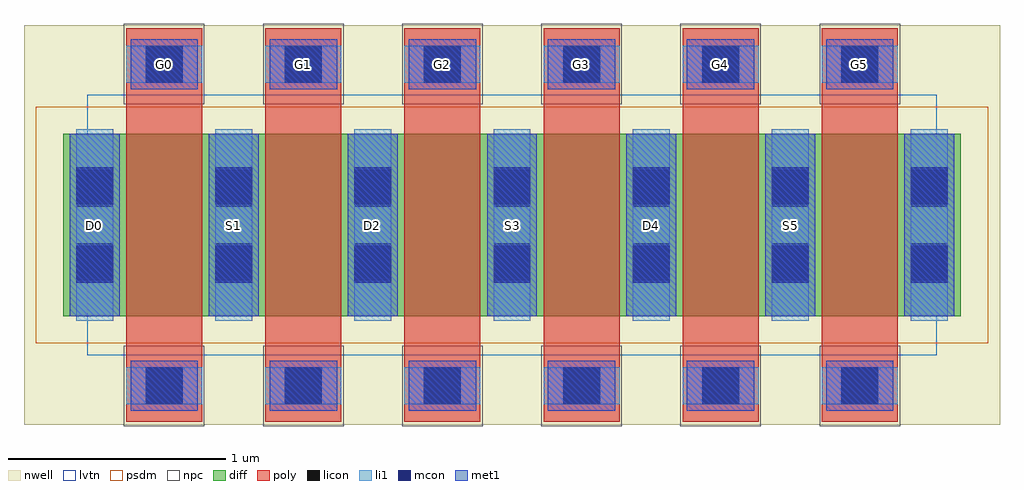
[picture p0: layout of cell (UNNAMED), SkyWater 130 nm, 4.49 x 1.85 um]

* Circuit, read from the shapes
.subckt (UNNAMED) D0 D2 D4 G0 G1 G2 G3 G4 G5 S1 S3 S5
XM1 S1 G0 D0 n1 sky130_fd_pr__pfet_01v8_lvt w=0.84 l=0.35
XM2 D2 G1 S1 n1 sky130_fd_pr__pfet_01v8_lvt w=0.84 l=0.35
XM3 S3 G2 D2 n1 sky130_fd_pr__pfet_01v8_lvt w=0.84 l=0.35
XM4 D4 G3 S3 n1 sky130_fd_pr__pfet_01v8_lvt w=0.84 l=0.35
XM5 S5 G4 D4 n1 sky130_fd_pr__pfet_01v8_lvt w=0.84 l=0.35
XM6 n2 G5 S5 n1 sky130_fd_pr__pfet_01v8_lvt w=0.84 l=0.35
.ends

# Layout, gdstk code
import gdstk
lib = gdstk.Library(unit=1e-6, precision=1e-09)
def R(c, l, rs):  # rectangles x0, y0, x1, y1
    for r in rs: c.add(gdstk.rectangle(r[:2], r[2:], *l))
def A(c, l, x, y, w, h, nx, ny, dx, dy):  # array of equal rectangles
    R(c, l, [(x+i*dx, y+j*dy, x+i*dx+w, y+j*dy+h) for i in range(nx) for j in range(ny)])
nwell = (64, 20)
diff = (65, 20)
poly = (66, 20)
licon = (66, 44)
li1 = (67, 20)
mcon = (67, 44)
met1 = (68, 20)
psdm = (94, 20)
npc = (95, 20)
lvtn = (125, 44)

c__unnamed_ = lib.new_cell('(UNNAMED)')
R(c__unnamed_, nwell, [(-2.245,-0.92,2.245,0.92)])
R(c__unnamed_, diff, [(-2.065,-0.42,2.065,0.42)])
A(c__unnamed_, poly, -1.775, -0.905, 0.35, 1.81, 6, 1, 0.64, 0)
A(c__unnamed_, licon, -1.685, -0.825, 0.17, 0.17, 6, 2, 0.64, 1.48)
A(c__unnamed_, licon, -2.005, -0.255, 0.17, 0.17, 7, 2, 0.64, 0.34)
A(c__unnamed_, li1, -1.775, -0.825, 0.35, 0.17, 6, 2, 0.64, 1.48)
A(c__unnamed_, li1, -2.005, -0.44, 0.17, 0.88, 7, 1, 0.64, 0)
A(c__unnamed_, mcon, -1.685, -0.825, 0.17, 0.17, 6, 2, 0.64, 1.48)
A(c__unnamed_, mcon, -2.005, -0.265, 0.17, 0.17, 7, 2, 0.64, 0.36)
A(c__unnamed_, met1, -1.755, -0.855, 0.31, 0.23, 6, 2, 0.64, 1.48)
A(c__unnamed_, met1, -2.035, -0.42, 0.23, 0.84, 7, 1, 0.64, 0)
R(c__unnamed_, psdm, [(-2.19,-0.545,2.19,0.545)])
A(c__unnamed_, npc, -1.785, -0.925, 0.37, 0.37, 6, 2, 0.64, 1.48)
R(c__unnamed_, lvtn, [(-1.955,-0.6,1.955,0.6)])
c__unnamed_.add(gdstk.Label('D0', (-1.92,0), layer=67, texttype=5))
c__unnamed_.add(gdstk.Label('G0', (-1.6,0.74), layer=67, texttype=5))
c__unnamed_.add(gdstk.Label('S1', (-1.28,0), layer=67, texttype=5))
c__unnamed_.add(gdstk.Label('G1', (-0.96,0.74), layer=67, texttype=5))
c__unnamed_.add(gdstk.Label('D2', (-0.64,0), layer=67, texttype=5))
c__unnamed_.add(gdstk.Label('G2', (-0.32,0.74), layer=67, texttype=5))
c__unnamed_.add(gdstk.Label('S3', (0,0), layer=67, texttype=5))
c__unnamed_.add(gdstk.Label('G3', (0.32,0.74), layer=67, texttype=5))
c__unnamed_.add(gdstk.Label('D4', (0.64,0), layer=67, texttype=5))
c__unnamed_.add(gdstk.Label('G4', (0.96,0.74), layer=67, texttype=5))
c__unnamed_.add(gdstk.Label('S5', (1.28,0), layer=67, texttype=5))
c__unnamed_.add(gdstk.Label('G5', (1.6,0.74), layer=67, texttype=5))

lib.write_gds('_UNNAMED_.gds')
